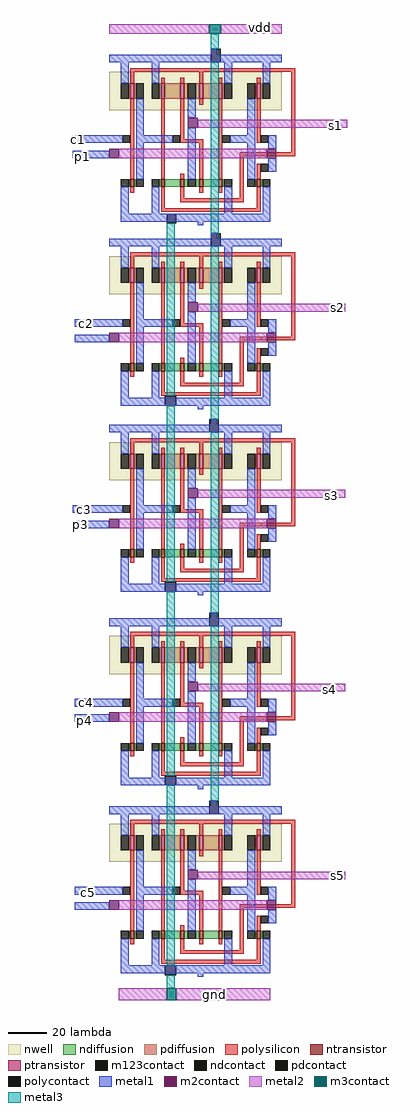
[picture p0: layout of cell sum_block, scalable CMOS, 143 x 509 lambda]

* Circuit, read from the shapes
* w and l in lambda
.subckt sum_block vdd gnd s1 s2 s3 s4 s5 c1 p1 c2 p2 c3 p3 c4 p4 c5 p5
M1 sum_4/xor_0/Bnot c5 gnd VSUBS nfet w=4 l=2
M2 sum_3/xor_0/Bnot c4 gnd VSUBS nfet w=4 l=2
M3 sum_2/xor_0/Bnot c3 gnd VSUBS nfet w=4 l=2
M4 sum_1/xor_0/Bnot c2 gnd VSUBS nfet w=4 l=2
M5 sum_0/xor_0/Bnot c1 gnd VSUBS nfet w=4 l=2
M6 n1 p5 gnd VSUBS nfet w=4 l=2
M7 n2 p4 gnd VSUBS nfet w=4 l=2
M8 n3 p3 gnd VSUBS nfet w=4 l=2
M9 n4 p2 gnd VSUBS nfet w=4 l=2
M10 n5 p1 gnd VSUBS nfet w=4 l=2
M11 s5 c5 n1 VSUBS nfet w=4 l=2
M12 s4 c4 n2 VSUBS nfet w=4 l=2
M13 s3 c3 n3 VSUBS nfet w=4 l=2
M14 s2 c2 n4 VSUBS nfet w=4 l=2
M15 s1 c1 n5 VSUBS nfet w=4 l=2
M16 n6 sum_4/xor_0/Bnot s5 VSUBS nfet w=4 l=2
M17 n7 sum_3/xor_0/Bnot s4 VSUBS nfet w=4 l=2
M18 n8 sum_2/xor_0/Bnot s3 VSUBS nfet w=4 l=2
M19 n9 sum_1/xor_0/Bnot s2 VSUBS nfet w=4 l=2
M20 n10 sum_0/xor_0/Bnot s1 VSUBS nfet w=4 l=2
M21 gnd sum_4/xor_0/Anot n6 VSUBS nfet w=4 l=2
M22 gnd sum_3/xor_0/Anot n7 VSUBS nfet w=4 l=2
M23 gnd sum_2/xor_0/Anot n8 VSUBS nfet w=4 l=2
M24 gnd sum_1/xor_0/Anot n9 VSUBS nfet w=4 l=2
M25 gnd sum_0/xor_0/Anot n10 VSUBS nfet w=4 l=2
M26 gnd p5 sum_4/xor_0/Anot VSUBS nfet w=4 l=2
M27 gnd p4 sum_3/xor_0/Anot VSUBS nfet w=4 l=2
M28 gnd p3 sum_2/xor_0/Anot VSUBS nfet w=4 l=2
M29 gnd p2 sum_1/xor_0/Anot VSUBS nfet w=4 l=2
M30 gnd p1 sum_0/xor_0/Anot VSUBS nfet w=4 l=2
M31 sum_4/xor_0/Bnot c5 vdd n11 pfet w=8 l=2
M32 sum_3/xor_0/Bnot c4 vdd n12 pfet w=8 l=2
M33 sum_2/xor_0/Bnot c3 vdd n13 pfet w=8 l=2
M34 sum_1/xor_0/Bnot c2 vdd n14 pfet w=8 l=2
M35 sum_0/xor_0/Bnot c1 vdd n15 pfet w=8 l=2
M36 n16 p5 vdd n11 pfet w=8 l=2
M37 n17 p4 vdd n12 pfet w=8 l=2
M38 n18 p3 vdd n13 pfet w=8 l=2
M39 n19 p2 vdd n14 pfet w=8 l=2
M40 n20 p1 vdd n15 pfet w=8 l=2
M41 s5 sum_4/xor_0/Bnot n16 n11 pfet w=8 l=2
M42 s4 sum_3/xor_0/Bnot n17 n12 pfet w=8 l=2
M43 s3 sum_2/xor_0/Bnot n18 n13 pfet w=8 l=2
M44 s2 sum_1/xor_0/Bnot n19 n14 pfet w=8 l=2
M45 s1 sum_0/xor_0/Bnot n20 n15 pfet w=8 l=2
M46 n21 c5 s5 n11 pfet w=8 l=2
M47 n22 c4 s4 n12 pfet w=8 l=2
M48 n23 c3 s3 n13 pfet w=8 l=2
M49 n24 c2 s2 n14 pfet w=8 l=2
M50 n25 c1 s1 n15 pfet w=8 l=2
M51 vdd sum_4/xor_0/Anot n21 n11 pfet w=8 l=2
M52 vdd sum_3/xor_0/Anot n22 n12 pfet w=8 l=2
M53 vdd sum_2/xor_0/Anot n23 n13 pfet w=8 l=2
M54 vdd sum_1/xor_0/Anot n24 n14 pfet w=8 l=2
M55 vdd sum_0/xor_0/Anot n25 n15 pfet w=8 l=2
M56 vdd p5 sum_4/xor_0/Anot n11 pfet w=8 l=2
M57 vdd p4 sum_3/xor_0/Anot n12 pfet w=8 l=2
M58 vdd p3 sum_2/xor_0/Anot n13 pfet w=8 l=2
M59 vdd p2 sum_1/xor_0/Anot n14 pfet w=8 l=2
M60 vdd p1 sum_0/xor_0/Anot n15 pfet w=8 l=2
.ends

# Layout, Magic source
magic
tech scmos
<< metal1 >>
rect -7 43 9 47
rect -7 35 9 39
rect -6 -53 10 -49
rect -6 -61 10 -57
rect -7 -150 9 -146
rect -7 -158 9 -154
rect -6 -251 10 -247
rect -6 -259 10 -255
rect -6 -349 10 -345
rect -6 -357 10 -353
<< metal2 >>
rect 12 100 64 105
rect 70 100 102 105
rect 124 51 136 55
rect 124 -45 135 -41
rect 124 -142 135 -138
rect 124 -243 135 -239
rect 124 -341 135 -337
rect 17 -404 42 -398
rect 47 -404 96 -398
<< m3contact >>
rect 64 100 70 105
rect 42 -404 47 -398
<< m123contact >>
rect 65 85 70 92
rect 42 1 47 6
rect 65 -11 70 -4
rect 41 -94 47 -89
rect 64 -108 69 -101
rect 41 -191 47 -186
rect 64 -209 69 -202
rect 41 -292 47 -287
rect 64 -307 69 -300
rect 41 -391 47 -386
<< metal3 >>
rect 65 92 69 100
rect 42 -89 46 1
rect 65 -4 69 85
rect 42 -186 46 -94
rect 65 -101 69 -11
rect 42 -287 46 -191
rect 65 -202 69 -108
rect 42 -386 46 -292
rect 65 -300 69 -209
rect 42 -398 46 -391
use sum  sum_4
transform 1 0 4 0 1 -390
box -4 -2 124 90
use sum  sum_3
transform 1 0 4 0 1 -292
box -4 -2 124 90
use sum  sum_2
transform 1 0 4 0 1 -191
box -4 -2 124 90
use sum  sum_1
transform 1 0 4 0 1 -94
box -4 -2 124 90
use sum  sum_0
transform 1 0 4 0 1 2
box -4 -2 124 90
<< labels >>
rlabel metal2 67 -401 67 -401 1 gnd
port 2 n default bidirectional
rlabel metal2 91 103 91 103 5 vdd
port 1 s default bidirectional
rlabel metal2 130 52 130 52 1 s1
port 3 n default output
rlabel metal2 131 -43 131 -43 7 s2
port 4 w default output
rlabel metal2 128 -141 128 -141 1 s3
port 5 n default output
rlabel metal2 127 -242 127 -242 1 s4
port 6 n default output
rlabel metal2 131 -339 131 -339 7 s5
port 7 w default output
rlabel metal1 -4 45 -4 45 3 c1
port 8 e default input
rlabel metal1 -2 36 -2 36 3 p1
port 9 e default input
rlabel metal1 0 -51 0 -51 1 c2
port 10 n default input
rlabel metal1 2 -58 2 -58 1 p2
port 11 n default input
rlabel metal1 -1 -148 -1 -148 1 c3
port 12 n default input
rlabel metal1 -3 -156 -3 -156 3 p3
port 13 e default input
rlabel metal1 0 -249 0 -249 1 c4
port 14 n default input
rlabel metal1 -1 -258 -1 -258 1 p4
port 15 n default input
rlabel metal1 1 -348 1 -348 1 c5
port 16 n default input
rlabel metal1 0 -355 0 -355 1 p5
port 17 n default input
<< end >>

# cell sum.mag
magic
tech scmos
<< metal1 >>
rect 61 87 64 90
rect -4 41 0 45
rect -4 33 0 37
rect 54 -2 57 0
<< metal2 >>
rect 120 49 124 53
use xor  xor_0
transform 1 0 33 0 1 62
box -33 -62 87 25
<< labels >>
rlabel metal1 61 87 64 90 5 vdd
port 1 s default bidirectional
rlabel metal1 56 -1 56 -1 1 gnd
port 2 n default bidirectional
rlabel metal1 -3 43 -3 43 3 b
port 3 e default input
rlabel metal1 -2 35 -2 35 3 a
port 4 e default input
rlabel metal2 122 51 122 51 7 sum
port 5 w default output
<< end >>

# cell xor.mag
magic
tech scmos
<< nwell >>
rect -25 -4 65 16
<< ntransistor >>
rect -14 -44 -12 -40
rect 2 -44 4 -40
rect 12 -44 14 -40
rect 22 -44 24 -40
rect 32 -44 34 -40
rect 52 -44 54 -40
<< ptransistor >>
rect -14 2 -12 10
rect 2 2 4 10
rect 12 2 14 10
rect 22 2 24 10
rect 32 2 34 10
rect 52 2 54 10
<< ndiffusion >>
rect -15 -44 -14 -40
rect -12 -44 -11 -40
rect 1 -44 2 -40
rect 4 -44 12 -40
rect 14 -44 16 -40
rect 20 -44 22 -40
rect 24 -44 32 -40
rect 34 -44 35 -40
rect 51 -44 52 -40
rect 54 -44 55 -40
<< pdiffusion >>
rect -15 2 -14 10
rect -12 2 -11 10
rect 1 2 2 10
rect 4 2 12 10
rect 14 2 16 10
rect 20 2 22 10
rect 24 2 32 10
rect 34 2 35 10
rect 51 2 52 10
rect 54 2 55 10
<< ndcontact >>
rect -19 -44 -15 -40
rect -11 -44 -7 -40
rect -3 -44 1 -40
rect 16 -44 20 -40
rect 35 -44 39 -40
rect 47 -44 51 -40
rect 55 -44 59 -40
<< pdcontact >>
rect -19 2 -15 10
rect -11 2 -7 10
rect -3 2 1 10
rect 16 2 20 10
rect 35 2 39 10
rect 47 2 51 10
rect 55 2 59 10
<< polysilicon >>
rect -14 16 72 18
rect -14 10 -12 16
rect 2 10 4 13
rect 12 10 14 13
rect 22 10 24 16
rect 32 10 34 13
rect 52 10 54 13
rect -14 -40 -12 2
rect 2 -40 4 2
rect 12 -19 14 2
rect 22 -1 24 2
rect 12 -21 24 -19
rect 12 -40 14 -37
rect 22 -40 24 -21
rect 32 -40 34 2
rect 52 -21 54 2
rect 70 -26 72 16
rect 43 -28 72 -26
rect -14 -47 -12 -44
rect 2 -55 4 -44
rect 12 -50 14 -44
rect 22 -47 24 -44
rect 32 -47 34 -44
rect 43 -50 45 -28
rect 52 -40 54 -32
rect 12 -52 45 -50
rect 52 -55 54 -44
rect 2 -57 54 -55
<< polycontact >>
rect -18 -21 -14 -17
rect 8 -21 12 -17
rect 34 -21 38 -17
rect 54 -21 58 -17
rect 54 -36 58 -32
<< metal1 >>
rect -25 21 65 25
rect -19 10 -15 21
rect -3 10 1 21
rect 35 10 39 21
rect 55 10 59 21
rect -11 -17 -7 2
rect 16 -8 20 2
rect -33 -21 -18 -17
rect -11 -21 8 -17
rect -33 -29 -25 -25
rect -11 -40 -7 -21
rect 16 -40 20 -13
rect 47 -17 51 2
rect 38 -21 51 -17
rect 47 -40 51 -21
rect 58 -24 62 -17
rect 58 -36 62 -29
rect -19 -58 -15 -44
rect -3 -58 1 -44
rect 35 -58 39 -44
rect 55 -58 59 -44
rect -19 -62 59 -58
<< m2contact >>
rect 16 -13 21 -8
rect -25 -29 -20 -24
rect 57 -29 62 -24
<< metal2 >>
rect 21 -13 87 -9
rect -20 -29 57 -24
<< labels >>
rlabel metal1 -25 21 65 25 1 VDD
rlabel metal1 -19 -62 59 -58 1 GND
rlabel metal1 -11 -21 12 -17 1 Bnot
rlabel metal1 34 -21 47 -17 1 Anot
rlabel metal1 -33 -21 -14 -17 1 B
rlabel metal1 16 -44 20 8 1 XOR
rlabel metal2 16 -13 87 -9 1 XOR
rlabel space -33 -29 62 -25 1 A
rlabel metal1 54 -36 62 -32 1 A
rlabel metal1 54 -21 62 -17 1 A
<< end >>
